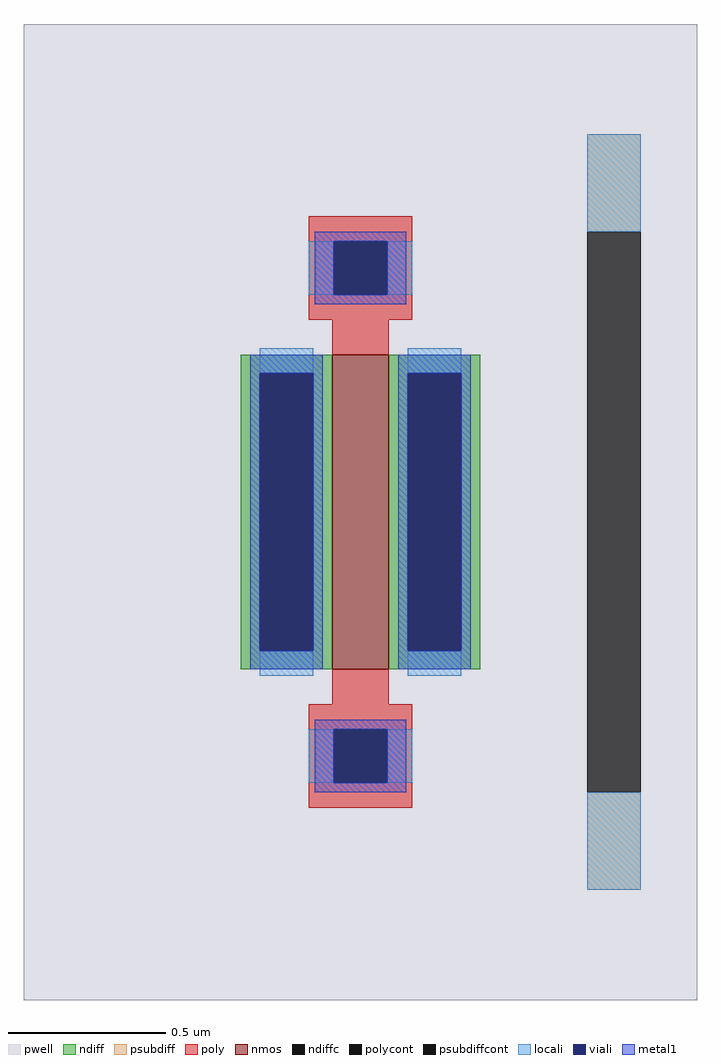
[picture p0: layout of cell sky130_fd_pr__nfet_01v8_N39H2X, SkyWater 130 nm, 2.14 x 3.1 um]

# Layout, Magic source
magic
tech sky130A
magscale 1 2
<< pwell >>
rect -214 -310 214 310
<< nmos >>
rect -18 -100 18 100
<< ndiff >>
rect -76 88 -18 100
rect -76 -88 -64 88
rect -30 -88 -18 88
rect -76 -100 -18 -88
rect 18 88 76 100
rect 18 -88 30 88
rect 64 -88 76 88
rect 18 -100 76 -88
<< ndiffc >>
rect -64 -88 -30 88
rect 30 -88 64 88
<< psubdiff >>
rect 144 178 178 240
rect 144 -240 178 -178
<< psubdiffcont >>
rect 144 -178 178 178
<< poly >>
rect -33 172 33 188
rect -33 138 -17 172
rect 17 138 33 172
rect -33 122 33 138
rect -18 100 18 122
rect -18 -122 18 -100
rect -33 -138 33 -122
rect -33 -172 -17 -138
rect 17 -172 33 -138
rect -33 -188 33 -172
<< polycont >>
rect -17 138 17 172
rect -17 -172 17 -138
<< locali >>
rect 144 178 178 240
rect -33 138 -17 172
rect 17 138 33 172
rect -64 88 -30 104
rect -64 -104 -30 -88
rect 30 88 64 104
rect 30 -104 64 -88
rect -33 -172 -17 -138
rect 17 -172 33 -138
rect 144 -240 178 -178
<< viali >>
rect -17 138 17 172
rect -64 -88 -30 88
rect 30 -88 64 88
rect -17 -172 17 -138
<< metal1 >>
rect -29 172 29 178
rect -29 138 -17 172
rect 17 138 29 172
rect -29 132 29 138
rect -70 88 -24 100
rect -70 -88 -64 88
rect -30 -88 -24 88
rect -70 -100 -24 -88
rect 24 88 70 100
rect 24 -88 30 88
rect 64 -88 70 88
rect 24 -100 70 -88
rect -29 -138 29 -132
rect -29 -172 -17 -138
rect 17 -172 29 -138
rect -29 -178 29 -172
<< properties >>
string FIXED_BBOX -161 -257 161 257
string gencell sky130_fd_pr__nfet_01v8
string library sky130
string parameters w 1.0 l 0.18 m 1 nf 1 diffcov 100 polycov 100 guard 1 glc 1 grc 1 gtc 1 gbc 1 tbcov 100 rlcov 100 topc 1 botc 1 poverlap 0 doverlap 1 lmin 0.15 wmin 0.42 compatible {sky130_fd_pr__nfet_01v8 sky130_fd_pr__nfet_01v8_lvt  sky130_fd_bs_flash__special_sonosfet_star  sky130_fd_pr__nfet_g5v0d10v5 sky130_fd_pr__nfet_05v0_nvt  sky130_fd_pr__nfet_03v3_nvt} full_metal 1 viasrc 100 viadrn 100 viagate 100 viagb 0 viagr 0 viagl 0 viagt 0
<< end >>
